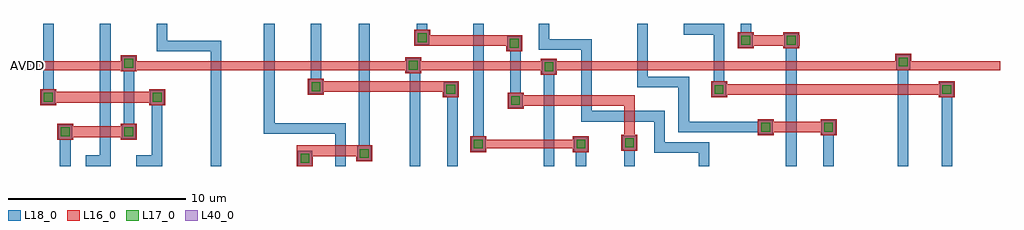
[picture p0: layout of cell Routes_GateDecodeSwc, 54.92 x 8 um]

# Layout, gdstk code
import gdstk
lib = gdstk.Library(unit=1e-6, precision=1e-09)
def R(c, l, rs):  # rectangles x0, y0, x1, y1
    for r in rs: c.add(gdstk.rectangle(r[:2], r[2:], *l))
L16_0 = (16, 0)
L17_0 = (17, 0)
L18_0 = (18, 0)
L40_0 = (40, 0)

m2_m1_cdns_759323868880 = lib.new_cell('M2_M1_CDNS_759323868880')
R(m2_m1_cdns_759323868880, L16_0, [(-0.45,-0.45,0.45,0.45)])
R(m2_m1_cdns_759323868880, L17_0, [(-0.25,-0.25,0.25,0.25)])
R(m2_m1_cdns_759323868880, L18_0, [(-0.4,-0.4,0.4,0.4)])

routes_gatedecodeswc = lib.new_cell('Routes_GateDecodeSwc')
R(routes_gatedecodeswc, L18_0, [(15.41,0,16.21,0.05)])
R(routes_gatedecodeswc, L40_0, [(0,5.4,0.37,5.9)])
routes_gatedecodeswc.add(gdstk.FlexPath([(0,5.65),(54.92,5.65)], 0.5, ends="flush", simple_path=True, layer=16, datatype=0))  # L16_0
routes_gatedecodeswc.add(gdstk.FlexPath([(5.9,1.93),(2.02,1.93)], 0.6, ends="flush", simple_path=True, layer=16, datatype=0))  # L16_0
routes_gatedecodeswc.add(gdstk.FlexPath([(41.74,2.19),(45.25,2.19)], 0.6, ends="flush", simple_path=True, layer=16, datatype=0))  # L16_0
routes_gatedecodeswc.add(gdstk.FlexPath([(34.07,3.69),(27.66,3.69)], 0.6, ends=(0.3, 0), simple_path=True, layer=16, datatype=0))  # L16_0
routes_gatedecodeswc.add(gdstk.FlexPath([(1.37,3.87),(7.49,3.87)], 0.6, ends="flush", simple_path=True, layer=16, datatype=0))  # L16_0
routes_gatedecodeswc.add(gdstk.FlexPath([(19.15,0.86),(15.36,0.86)], 0.6, ends="flush", simple_path=True, layer=16, datatype=0))  # L16_0
routes_gatedecodeswc.add(gdstk.FlexPath([(16.43,4.47),(23.97,4.47)], 0.6, ends="flush", simple_path=True, layer=16, datatype=0))  # L16_0
routes_gatedecodeswc.add(gdstk.FlexPath([(22.4,7.06),(27.58,7.06)], 0.6, ends="flush", simple_path=True, layer=16, datatype=0))  # L16_0
routes_gatedecodeswc.add(gdstk.FlexPath([(25.57,1.24),(31.34,1.24)], 0.5, ends="flush", simple_path=True, layer=16, datatype=0))  # L16_0
routes_gatedecodeswc.add(gdstk.FlexPath([(40.62,7.07),(43.64,7.07)], 0.6, ends="flush", simple_path=True, layer=16, datatype=0))  # L16_0
routes_gatedecodeswc.add(gdstk.FlexPath([(34.07,1.31),(34.07,3.69)], 0.6, ends=(0, 0.3), simple_path=True, layer=16, datatype=0))  # L16_0
routes_gatedecodeswc.add(gdstk.FlexPath([(38.9,4.31),(51.93,4.31)], 0.6, ends="flush", simple_path=True, layer=16, datatype=0))  # L16_0
routes_gatedecodeswc.add(gdstk.FlexPath([(5.9,5.79),(5.9,1.93)], 0.6, ends="flush", simple_path=True, layer=18, datatype=0))  # L18_0
routes_gatedecodeswc.add(gdstk.FlexPath([(2.32,2.33),(2.32,0)], 0.6, ends="flush", simple_path=True, layer=18, datatype=0))  # L18_0
routes_gatedecodeswc.add(gdstk.FlexPath([(22.01,5.65),(22.01,0)], 0.6, ends="flush", simple_path=True, layer=18, datatype=0))  # L18_0
routes_gatedecodeswc.add(gdstk.FlexPath([(29.54,5.84),(29.54,0)], 0.6, ends="flush", simple_path=True, layer=18, datatype=0))  # L18_0
routes_gatedecodeswc.add(gdstk.FlexPath([(49.47,0),(49.47,5.83)], 0.6, ends="flush", simple_path=True, layer=18, datatype=0))  # L18_0
routes_gatedecodeswc.add(gdstk.FlexPath([(45.27,2.19),(45.27,0)], 0.6, ends="flush", simple_path=True, layer=18, datatype=0))  # L18_0
routes_gatedecodeswc.add(gdstk.FlexPath([(37.12,2.19),(41.74,2.19)], 0.6, ends=(0.3, 0), simple_path=True, layer=18, datatype=0))  # L18_0
routes_gatedecodeswc.add(gdstk.FlexPath([(37.12,4.74),(37.12,2.19)], 0.6, ends="extended", simple_path=True, layer=18, datatype=0))  # L18_0
routes_gatedecodeswc.add(gdstk.FlexPath([(29.27,8),(29.27,6.84)], 0.6, ends=(0, 0.3), simple_path=True, layer=18, datatype=0))  # L18_0
routes_gatedecodeswc.add(gdstk.FlexPath([(35.76,2.8),(35.76,1.04)], 0.6, ends="extended", simple_path=True, layer=18, datatype=0))  # L18_0
routes_gatedecodeswc.add(gdstk.FlexPath([(13.8,2.12),(13.8,8)], 0.6, ends=(0.3, 0), simple_path=True, layer=18, datatype=0))  # L18_0
routes_gatedecodeswc.add(gdstk.FlexPath([(10.81,6.76),(7.77,6.76)], 0.6, ends="extended", simple_path=True, layer=18, datatype=0))  # L18_0
routes_gatedecodeswc.add(gdstk.FlexPath([(7.77,6.76),(7.77,8)], 0.6, ends=(0.3, 0), simple_path=True, layer=18, datatype=0))  # L18_0
routes_gatedecodeswc.add(gdstk.FlexPath([(4.57,0.3),(3.47,0.3)], 0.6, ends=(0.3, 0), simple_path=True, layer=18, datatype=0))  # L18_0
routes_gatedecodeswc.add(gdstk.FlexPath([(16.43,8),(16.43,4.68)], 0.6, ends="flush", simple_path=True, layer=18, datatype=0))  # L18_0
routes_gatedecodeswc.add(gdstk.FlexPath([(17.81,2.12),(13.8,2.12)], 0.6, ends="extended", simple_path=True, layer=18, datatype=0))  # L18_0
routes_gatedecodeswc.add(gdstk.FlexPath([(4.57,8),(4.57,0.3)], 0.6, ends=(0, 0.3), simple_path=True, layer=18, datatype=0))  # L18_0
routes_gatedecodeswc.add(gdstk.FlexPath([(1.37,8),(1.37,3.91)], 0.6, ends="flush", simple_path=True, layer=18, datatype=0))  # L18_0
routes_gatedecodeswc.add(gdstk.FlexPath([(10.81,0),(10.81,6.76)], 0.6, ends=(0, 0.3), simple_path=True, layer=18, datatype=0))  # L18_0
routes_gatedecodeswc.add(gdstk.FlexPath([(7.49,3.96),(7.49,0.3)], 0.6, ends=(0, 0.3), simple_path=True, layer=18, datatype=0))  # L18_0
routes_gatedecodeswc.add(gdstk.FlexPath([(7.49,0.3),(6.31,0.3)], 0.6, ends=(0.3, 0), simple_path=True, layer=18, datatype=0))  # L18_0
routes_gatedecodeswc.add(gdstk.FlexPath([(34.07,0),(34.07,1.31)], 0.6, ends="flush", simple_path=True, layer=18, datatype=0))  # L18_0
routes_gatedecodeswc.add(gdstk.FlexPath([(17.81,0),(17.81,2.12)], 0.6, ends=(0, 0.3), simple_path=True, layer=18, datatype=0))  # L18_0
routes_gatedecodeswc.add(gdstk.FlexPath([(19.15,8),(19.15,0.56)], 0.6, ends="flush", simple_path=True, layer=18, datatype=0))  # L18_0
routes_gatedecodeswc.add(gdstk.FlexPath([(34.8,8),(34.8,4.74)], 0.6, ends=(0, 0.3), simple_path=True, layer=18, datatype=0))  # L18_0
routes_gatedecodeswc.add(gdstk.FlexPath([(34.8,4.74),(37.12,4.74)], 0.6, ends="extended", simple_path=True, layer=18, datatype=0))  # L18_0
routes_gatedecodeswc.add(gdstk.FlexPath([(24.11,4.37),(24.11,0)], 0.6, ends="flush", simple_path=True, layer=18, datatype=0))  # L18_0
routes_gatedecodeswc.add(gdstk.FlexPath([(22.4,8),(22.4,6.82)], 0.6, ends="flush", simple_path=True, layer=18, datatype=0))  # L18_0
routes_gatedecodeswc.add(gdstk.FlexPath([(25.57,8),(25.57,1.24)], 0.6, ends="flush", simple_path=True, layer=18, datatype=0))  # L18_0
routes_gatedecodeswc.add(gdstk.FlexPath([(31.34,1.24),(31.34,0)], 0.6, ends="flush", simple_path=True, layer=18, datatype=0))  # L18_0
routes_gatedecodeswc.add(gdstk.FlexPath([(29.27,6.84),(31.65,6.84)], 0.6, ends="extended", simple_path=True, layer=18, datatype=0))  # L18_0
routes_gatedecodeswc.add(gdstk.FlexPath([(35.76,1.04),(38.27,1.04)], 0.6, ends="extended", simple_path=True, layer=18, datatype=0))  # L18_0
routes_gatedecodeswc.add(gdstk.FlexPath([(40.62,8),(40.62,7.07)], 0.6, ends="flush", simple_path=True, layer=18, datatype=0))  # L18_0
routes_gatedecodeswc.add(gdstk.FlexPath([(43.17,7.07),(43.17,0)], 0.6, ends="flush", simple_path=True, layer=18, datatype=0))  # L18_0
routes_gatedecodeswc.add(gdstk.FlexPath([(37.13,7.7),(39.11,7.7)], 0.6, ends=(0, 0.3), simple_path=True, layer=18, datatype=0))  # L18_0
routes_gatedecodeswc.add(gdstk.FlexPath([(27.66,6.91),(27.58,6.91)], 0.6, ends=(0.3, 0), simple_path=True, layer=18, datatype=0))  # L18_0
routes_gatedecodeswc.add(gdstk.FlexPath([(27.66,3.69),(27.66,6.91)], 0.6, ends=(0, 0.3), simple_path=True, layer=18, datatype=0))  # L18_0
routes_gatedecodeswc.add(gdstk.FlexPath([(31.65,6.84),(31.65,2.8)], 0.6, ends="extended", simple_path=True, layer=18, datatype=0))  # L18_0
routes_gatedecodeswc.add(gdstk.FlexPath([(31.65,2.8),(35.76,2.8)], 0.6, ends="extended", simple_path=True, layer=18, datatype=0))  # L18_0
routes_gatedecodeswc.add(gdstk.FlexPath([(38.27,1.04),(38.27,0)], 0.6, ends=(0.3, 0), simple_path=True, layer=18, datatype=0))  # L18_0
routes_gatedecodeswc.add(gdstk.FlexPath([(39.11,7.7),(39.11,4.36)], 0.6, ends=(0.3, 0), simple_path=True, layer=18, datatype=0))  # L18_0
routes_gatedecodeswc.add(gdstk.FlexPath([(51.93,4.5),(51.93,0)], 0.6, ends="flush", simple_path=True, layer=18, datatype=0))  # L18_0
routes_gatedecodeswc.add(gdstk.Reference(m2_m1_cdns_759323868880, (51.93,4.31)))
routes_gatedecodeswc.add(gdstk.Reference(m2_m1_cdns_759323868880, (39.11,4.31)))
routes_gatedecodeswc.add(gdstk.Reference(m2_m1_cdns_759323868880, (49.47,5.86)))
routes_gatedecodeswc.add(gdstk.Reference(m2_m1_cdns_759323868880, (43.17,7.07)))
routes_gatedecodeswc.add(gdstk.Reference(m2_m1_cdns_759323868880, (40.62,7.07)))
routes_gatedecodeswc.add(gdstk.Reference(m2_m1_cdns_759323868880, (41.74,2.19)))
routes_gatedecodeswc.add(gdstk.Reference(m2_m1_cdns_759323868880, (31.34,1.24)))
routes_gatedecodeswc.add(gdstk.Reference(m2_m1_cdns_759323868880, (25.57,1.24)))
routes_gatedecodeswc.add(gdstk.Reference(m2_m1_cdns_759323868880, (29.54,5.59)))
routes_gatedecodeswc.add(gdstk.Reference(m2_m1_cdns_759323868880, (22.4,7.22)))
routes_gatedecodeswc.add(gdstk.Reference(m2_m1_cdns_759323868880, (24.01,4.32)))
routes_gatedecodeswc.add(gdstk.Reference(m2_m1_cdns_759323868880, (16.43,4.47)))
routes_gatedecodeswc.add(gdstk.Reference(m2_m1_cdns_759323868880, (15.81,0.45)))
routes_gatedecodeswc.add(gdstk.Reference(m2_m1_cdns_759323868880, (19.15,0.71)))
routes_gatedecodeswc.add(gdstk.Reference(m2_m1_cdns_759323868880, (45.27,2.19)))
routes_gatedecodeswc.add(gdstk.Reference(m2_m1_cdns_759323868880, (21.91,5.67)))
routes_gatedecodeswc.add(gdstk.Reference(m2_m1_cdns_759323868880, (5.9,5.79)))
routes_gatedecodeswc.add(gdstk.Reference(m2_m1_cdns_759323868880, (5.9,1.93)))
routes_gatedecodeswc.add(gdstk.Reference(m2_m1_cdns_759323868880, (2.32,1.93)))
routes_gatedecodeswc.add(gdstk.Reference(m2_m1_cdns_759323868880, (1.37,3.87)))
routes_gatedecodeswc.add(gdstk.Reference(m2_m1_cdns_759323868880, (7.49,3.87)))
routes_gatedecodeswc.add(gdstk.Reference(m2_m1_cdns_759323868880, (34.07,1.31)))
routes_gatedecodeswc.add(gdstk.Reference(m2_m1_cdns_759323868880, (27.58,6.91)))
routes_gatedecodeswc.add(gdstk.Reference(m2_m1_cdns_759323868880, (27.66,3.69)))
routes_gatedecodeswc.add(gdstk.Label('AVDD', (0.19,5.65), layer=40, texttype=0))

lib.write_gds('Routes_GateDecodeSwc.gds')
